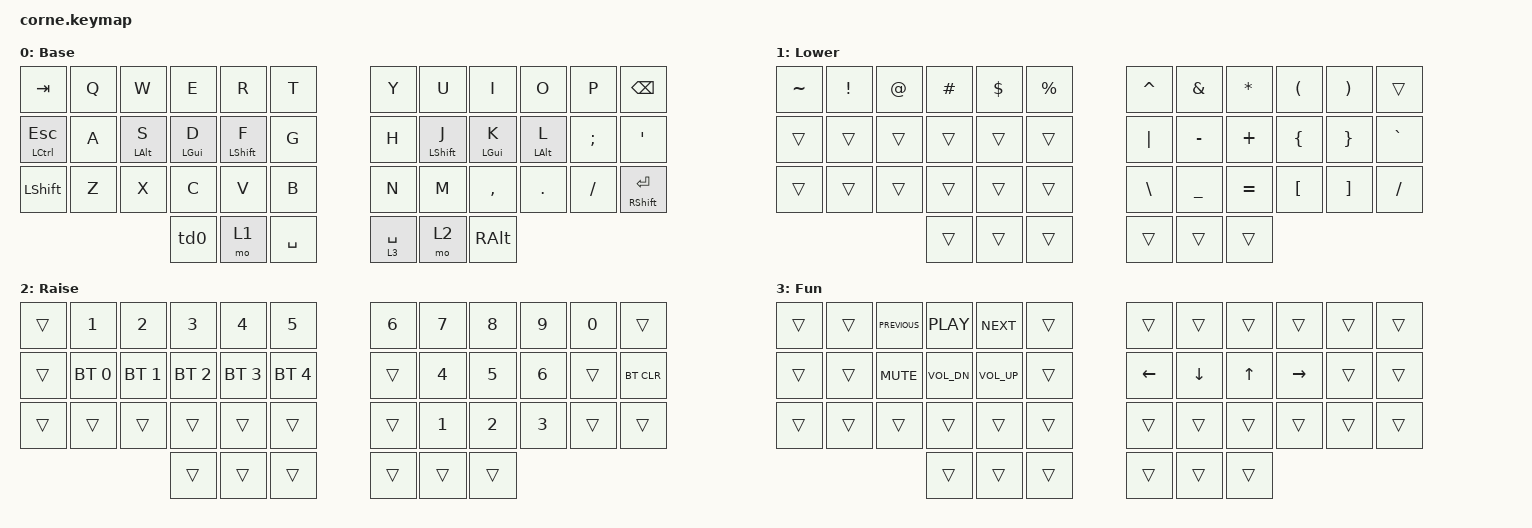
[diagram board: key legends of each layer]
/*
 * Copyright (c) 2020 The ZMK Contributors
 *
 * SPDX-License-Identifier: MIT
 */

#include <behaviors.dtsi>
#include <dt-bindings/zmk/bt.h>
#include <dt-bindings/zmk/keys.h>

/ {
    behaviors {
        td0: tap_dance_0 {
            compatible = "zmk,behavior-tap-dance";
            display-name = "TAP_DANCE_0";
            #binding-cells = <0>;
            tapping-term-ms = <200>;
            bindings = <&kp LGUI>, <&kp LG(LALT)>;
        };
    };

    keymap {
        compatible = "zmk,keymap";

        default_layer {
            display-name = "Base";
            bindings = <
&kp TAB         &kp Q  &kp W       &kp E       &kp R        &kp T        &kp Y        &kp U        &kp I       &kp O       &kp P     &kp BSPC
&mt LCTRL ESC   &kp A  &mt LALT S  &mt LGUI D  &mt LSHFT F  &kp G        &kp H        &mt LSHFT J  &mt LGUI K  &mt LALT L  &kp SEMI  &kp SQT
&kp LSHFT       &kp Z  &kp X       &kp C       &kp V        &kp B        &kp N        &kp M        &kp COMMA   &kp DOT     &kp FSLH  &mt RSHFT RET
                                   &td0        &mo 1        &kp SPACE    &lt 3 SPACE  &mo 2        &kp RALT
            >;
        };

        lower_layer {
            display-name = "Lower";
            bindings = <
&kp TILDE  &kp EXCL  &kp AT  &kp HASH  &kp DLLR  &kp PRCNT    &kp CARET      &kp AMPS   &kp STAR   &kp LPAR  &kp RPAR  &trans
&trans     &trans    &trans  &trans    &trans    &trans       &kp PIPE       &kp MINUS  &kp PLUS   &kp LBRC  &kp RBRC  &kp GRAVE
&trans     &trans    &trans  &trans    &trans    &trans       &kp BACKSLASH  &kp UNDER  &kp EQUAL  &kp LBKT  &kp RBKT  &kp FSLH
                             &trans    &trans    &trans       &trans         &trans     &trans
            >;
        };

        raise_layer {
            display-name = "Raise";
            bindings = <
&trans  &kp N1        &kp N2        &kp N3        &kp N4        &kp N5          &kp N6  &kp N7  &kp N8  &kp N9  &kp N0  &trans
&trans  &bt BT_SEL 0  &bt BT_SEL 1  &bt BT_SEL 2  &bt BT_SEL 3  &bt BT_SEL 4    &trans  &kp N4  &kp N5  &kp N6  &trans  &bt BT_CLR
&trans  &trans        &trans        &trans        &trans        &trans          &trans  &kp N1  &kp N2  &kp N3  &trans  &trans
                                    &trans        &trans        &trans          &trans  &trans  &trans
            >;
        };

        cursor_layer {
            display-name = "Fun";
            bindings = <
&trans  &trans  &kp K_PREVIOUS  &kp C_PLAY    &kp C_NEXT    &trans    &trans    &trans    &trans  &trans     &trans  &trans
&trans  &trans  &kp C_MUTE      &kp C_VOL_DN  &kp C_VOL_UP  &trans    &kp LEFT  &kp DOWN  &kp UP  &kp RIGHT  &trans  &trans
&trans  &trans  &trans          &trans        &trans        &trans    &trans    &trans    &trans  &trans     &trans  &trans
                                &trans        &trans        &trans    &trans    &trans    &trans
            >;
        };
    };
};

// Mod-tap: tap-preferred so pressing another key while held (e.g. while
// typing) doesn't force the modifier; only actual hold time does.
// Slightly longer tapping term gives more margin for taps.

&mt {
    flavor = "tap-preferred";
    tapping-term-ms = <250>;
};
